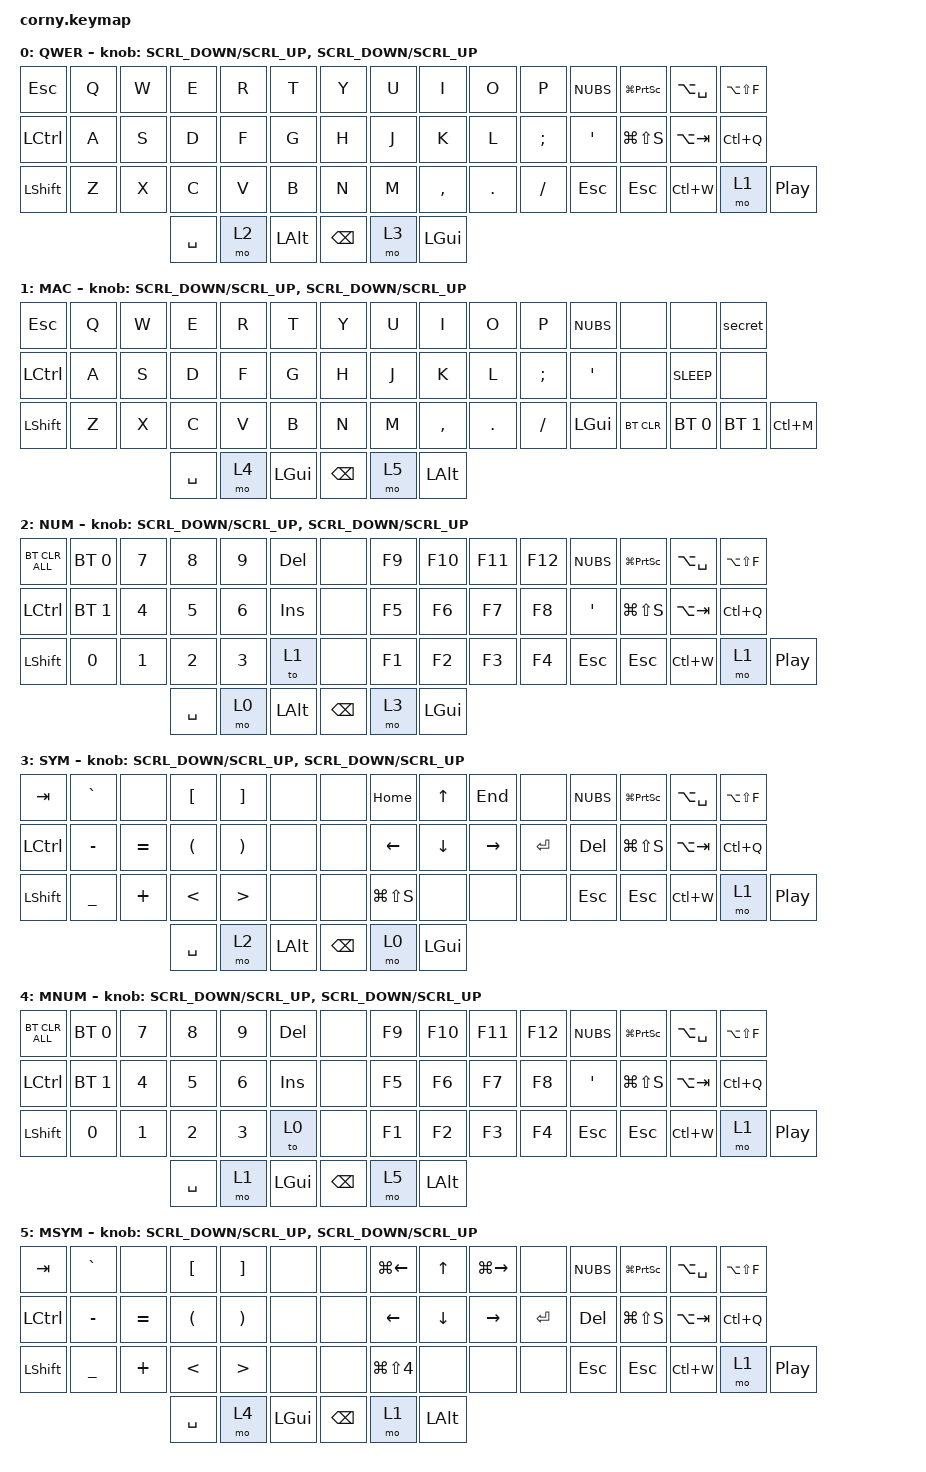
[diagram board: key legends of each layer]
#include <behaviors.dtsi>
#include <dt-bindings/zmk/keys.h>
#include <dt-bindings/zmk/bt.h>
#include <dt-bindings/zmk/outputs.h>
#include <dt-bindings/zmk/pointing.h>

#define M_HOME LG(LEFT)
#define M_END LG(RIGHT)
#define KC_CAPA LG(PSCRN)
#define KC_CAPS LG(LS(S))
#define CLS_TAB LC(W)
#define DITTO   LC(Q)
#define LAUNCHR LA(SPACE)
#define EVRTHNG LA(LS(F))
#define ALT_TAB LA(TAB)
#define DSCD_MT LC(M)

/ {
    behaviors {
        scroll_encoder: scroll_encoder {
            compatible = "zmk,behavior-sensor-rotate-var";
            #sensor-binding-cells = <2>;
            bindings = <&msc>, <&msc>;
            tap-ms = <20>;
        };
    };

    macros {
        secret: secret {
            compatible = "zmk,behavior-macro";
            wait-ms = <5>;
            #binding-cells = <0>;
            bindings = <&macro_tap &kp N5 &kp N1 &kp N2 &kp N9 &kp N4 &kp N1 &kp N6>;
        };
    };
};

/ {

    keymap {
        compatible = "zmk,keymap";

        QWER {
            bindings = <
                &kp ESC           &kp Q            &kp W      &kp E      &kp R      &kp T                             &kp Y      &kp U          &kp I      &kp O      &kp P      &kp NUBS    &kp KC_CAPA  &kp LAUNCHR  &kp EVRTHNG
                &kp LCTRL         &kp A            &kp S      &kp D      &kp F      &kp G                             &kp H      &kp J          &kp K      &kp L      &kp SEMI   &kp SQT     &kp KC_CAPS  &kp ALT_TAB  &kp DITTO
                &kp LSHFT         &kp Z            &kp X      &kp C      &kp V      &kp B                             &kp N      &kp M          &kp COMMA  &kp DOT    &kp FSLH   &kp ESC     &kp ESC      &kp CLS_TAB  &mo 1          &kp C_PP
                                                              &kp SPACE  &mo 2      &kp LALT                          &kp BSPC   &mo 3          &kp LGUI
            >;
            sensor-bindings = <&scroll_encoder SCRL_DOWN SCRL_UP &scroll_encoder SCRL_DOWN SCRL_UP>;
        };
        MAC {
            bindings = <
                &kp ESC           &kp Q            &kp W      &kp E      &kp R      &kp T                             &kp Y      &kp U          &kp I      &kp O      &kp P      &kp NUBS    &none        &none         &secret
                &kp LCTRL         &kp A            &kp S      &kp D      &kp F      &kp G                             &kp H      &kp J          &kp K      &kp L      &kp SEMI   &kp SQT     &none        &kp C_SLEEP   &none
                &kp LSHFT         &kp Z            &kp X      &kp C      &kp V      &kp B                             &kp N      &kp M          &kp COMMA  &kp DOT    &kp FSLH   &kp LGUI    &bt BT_CLR   &bt BT_SEL 0  &bt BT_SEL 1  &kp DSCD_MT
                                                              &kp SPACE  &mo 4      &kp LGUI                          &kp BSPC   &mo 5          &kp LALT
            >;
            sensor-bindings = <&scroll_encoder SCRL_DOWN SCRL_UP &scroll_encoder SCRL_DOWN SCRL_UP>;
        };
        NUM {
            bindings = <
                &bt BT_CLR_ALL    &bt BT_SEL 0     &kp N7     &kp N8     &kp N9     &kp DEL                           &none      &kp F9         &kp F10    &kp F11    &kp F12    &kp NUBS    &kp KC_CAPA  &kp LAUNCHR  &kp EVRTHNG
                &kp LCTRL         &bt BT_SEL 1     &kp N4     &kp N5     &kp N6     &kp INS                           &none      &kp F5         &kp F6     &kp F7     &kp F8     &kp SQT     &kp KC_CAPS  &kp ALT_TAB  &kp DITTO
                &kp LSHFT         &kp N0           &kp N1     &kp N2     &kp N3     &to 1                             &none      &kp F1         &kp F2     &kp F3     &kp F4     &kp ESC     &kp ESC      &kp CLS_TAB  &mo 1          &kp C_PP
                                                              &kp SPACE  &mo 0      &kp LALT                          &kp BSPC   &mo 3          &kp LGUI
            >;
            sensor-bindings = <&scroll_encoder SCRL_DOWN SCRL_UP &scroll_encoder SCRL_DOWN SCRL_UP>;
        };
        SYM {
            bindings = <
                &kp TAB           &kp GRAVE        &none      &kp LBKT   &kp RBKT   &none                             &none      &kp HOME       &kp UP     &kp END    &none     &kp NUBS    &kp KC_CAPA  &kp LAUNCHR  &kp EVRTHNG
                &kp LCTRL         &kp MINUS        &kp EQUAL  &kp LPAR   &kp RPAR   &none                             &none      &kp LEFT       &kp DOWN   &kp RIGHT  &kp RET   &kp DEL     &kp KC_CAPS  &kp ALT_TAB  &kp DITTO
                &kp LSHFT         &kp UNDER        &kp PLUS   &kp LT     &kp GT     &none                             &none      &kp LG(LS(S))  &none      &none      &none     &kp ESC     &kp ESC      &kp CLS_TAB  &mo 1          &kp C_PP
                                                              &kp SPACE  &mo 2      &kp LALT                          &kp BSPC   &mo 0          &kp LGUI
            >;
            sensor-bindings = <&scroll_encoder SCRL_DOWN SCRL_UP &scroll_encoder SCRL_DOWN SCRL_UP>;
        };
        MNUM {
            bindings = <
                &bt BT_CLR_ALL    &bt BT_SEL 0     &kp N7     &kp N8     &kp N9     &kp DEL                           &none      &kp F9         &kp F10    &kp F11    &kp F12    &kp NUBS    &kp KC_CAPA  &kp LAUNCHR  &kp EVRTHNG
                &kp LCTRL         &bt BT_SEL 1     &kp N4     &kp N5     &kp N6     &kp INS                           &none      &kp F5         &kp F6     &kp F7     &kp F8     &kp SQT     &kp KC_CAPS  &kp ALT_TAB  &kp DITTO
                &kp LSHFT         &kp N0           &kp N1     &kp N2     &kp N3     &to 0                             &none      &kp F1         &kp F2     &kp F3     &kp F4     &kp ESC     &kp ESC      &kp CLS_TAB  &mo 1          &kp C_PP
                                                              &kp SPACE  &mo 1      &kp LGUI                          &kp BSPC   &mo 5          &kp LALT
            >;
            sensor-bindings = <&scroll_encoder SCRL_DOWN SCRL_UP &scroll_encoder SCRL_DOWN SCRL_UP>;
        };
        MSYM {
            bindings = <
                &kp TAB           &kp GRAVE        &none      &kp LBKT   &kp RBKT   &none                             &none      &kp M_HOME     &kp UP     &kp M_END  &none     &kp NUBS    &kp KC_CAPA  &kp LAUNCHR  &kp EVRTHNG
                &kp LCTRL         &kp MINUS        &kp EQUAL  &kp LPAR   &kp RPAR   &none                             &none      &kp LEFT       &kp DOWN   &kp RIGHT  &kp RET   &kp DEL     &kp KC_CAPS  &kp ALT_TAB  &kp DITTO
                &kp LSHFT         &kp UNDER        &kp PLUS   &kp LT     &kp GT     &none                             &none      &kp LG(LS(4))  &none      &none      &none     &kp ESC     &kp ESC      &kp CLS_TAB  &mo 1          &kp C_PP
                                                              &kp SPACE  &mo 4      &kp LGUI                          &kp BSPC   &mo 1          &kp LALT
            >;
            sensor-bindings = <&scroll_encoder SCRL_DOWN SCRL_UP &scroll_encoder SCRL_DOWN SCRL_UP>;
       };
    };
};
